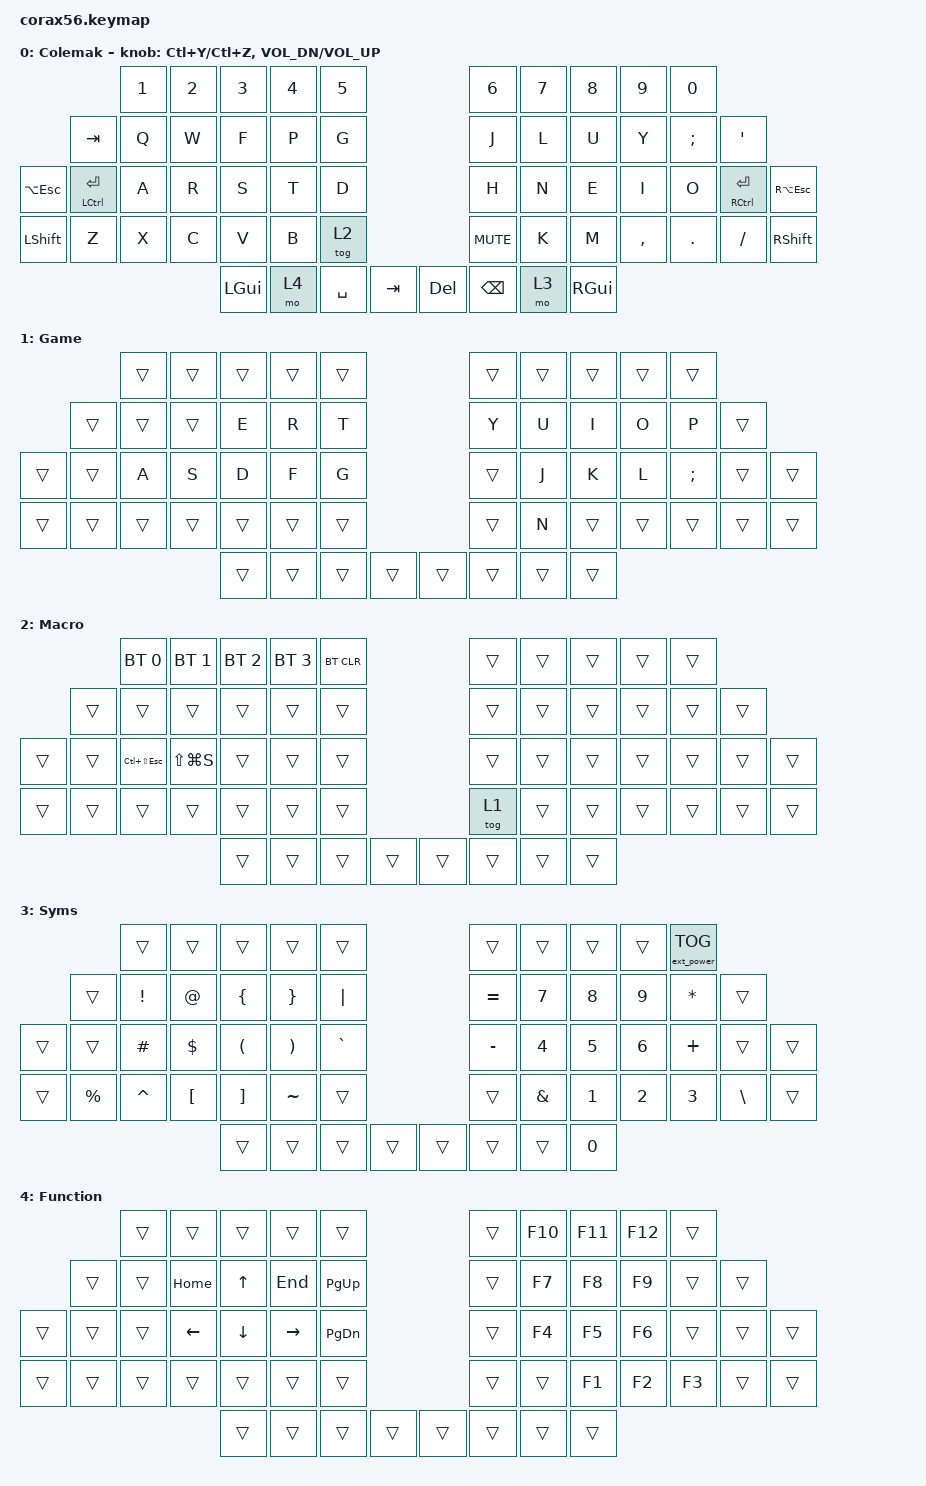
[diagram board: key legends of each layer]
#include <behaviors.dtsi>
#include <dt-bindings/zmk/bt.h>
#include <dt-bindings/zmk/ext_power.h>
#include <dt-bindings/zmk/keys.h>

// Zephyr 4.1 (ZMK main) removed CONFIG_NFCT_PINS_AS_GPIOS. The matrix uses
// pro_micro 10 (P0.09) and 16 (P0.10), the nRF52840 NFC pins, so free them for GPIO.
&uicr { nfct-pins-as-gpios; };

/ {
    keymap {
        compatible = "zmk,keymap";

        colemak {
            display-name = "Colemak";
            bindings = <
                                &kp N1      &kp N2      &kp N3       &kp N4       &kp N5                                &kp N6         &kp N7       &kp N8       &kp N9      &kp N0
                &kp TAB         &kp Q       &kp W       &kp F        &kp P        &kp G                                 &kp J          &kp L        &kp U        &kp Y       &kp SEMI   &kp SQT
&kp LA(ESC)     &mt LCTRL ENTER &kp A       &kp R       &kp S        &kp T        &kp D                                 &kp H          &kp N        &kp E        &kp I       &kp O      &mt RCTRL ENTER     &kp RA(ESC)
                &kp LSHFT       &kp Z       &kp X       &kp C        &kp V        &kp B      &tog 2        &kp C_MUTE   &kp K          &kp M        &kp COMMA    &kp DOT     &kp FSLH   &kp RSHFT
                                                        &kp LGUI     &mo 4        &kp SPACE  &kp TAB       &kp DEL      &kp BACKSPACE  &mo 3        &kp RGUI
            >;

            sensor-bindings = <&inc_dec_kp LC(Y) LC(Z) &inc_dec_kp C_VOL_DN C_VOL_UP>;
        };

        game {
            display-name = "Game";
            bindings = <
                            &trans  &trans  &trans  &trans  &trans                          &trans  &trans  &trans  &trans    &trans
                &trans      &trans  &trans  &kp E   &kp R   &kp T                           &kp Y   &kp U   &kp I   &kp O     &kp P     &trans
       &trans   &trans      &kp A   &kp S   &kp D   &kp F   &kp G                           &trans  &kp J   &kp K   &kp L     &kp SEMI  &trans  &trans
                &trans      &trans  &trans  &trans  &trans  &trans  &trans       &trans     &kp N   &trans  &trans  &trans    &trans    &trans
                                            &trans  &trans  &trans  &trans       &trans     &trans  &trans  &trans
            >;
        };

        macro {
            display-name = "Macro";
            bindings = <
                                &bt BT_SEL 0        &bt BT_SEL 1   &bt BT_SEL 2   &bt BT_SEL 3   &bt BT_CLR                       &trans  &trans  &trans  &trans  &trans
                &trans          &trans              &trans         &trans         &trans         &trans                           &trans  &trans  &trans  &trans  &trans  &trans
       &trans   &trans          &kp LC(LS(ESCAPE))  &kp LS(LG(S))  &trans         &trans         &trans                           &trans  &trans  &trans  &trans  &trans  &trans  &trans
                &trans          &trans              &trans         &trans         &trans         &trans      &trans    &tog 1     &trans  &trans  &trans  &trans  &trans  &trans
                                                                   &trans         &trans         &trans      &trans    &trans     &trans  &trans  &trans
            >;
        };

        symbol {
            display-name = "Syms";
            bindings = <
                            &trans     &trans     &trans    &trans    &trans                                &trans     &trans  &trans  &trans  &ext_power EP_TOG
                &trans      &kp EXCL   &kp AT     &kp LBRC  &kp RBRC  &kp PIPE                              &kp EQUAL  &kp N7  &kp N8  &kp N9  &kp ASTRK          &trans
    &trans      &trans      &kp HASH   &kp DLLR   &kp LPAR  &kp RPAR  &kp GRAVE                             &kp MINUS  &kp N4  &kp N5  &kp N6  &kp PLUS           &trans  &trans
                &trans      &kp PRCNT  &kp CARET  &kp LBKT  &kp RBKT  &kp TILDE     &trans      &trans      &kp AMPS   &kp N1  &kp N2  &kp N3  &kp BSLH           &trans
                                                  &trans    &trans    &trans        &trans      &trans      &trans     &trans  &kp N0
            >;
        };

        function {
            display-name = "Function";
            bindings = <
                            &trans  &trans    &trans    &trans     &trans                              &trans  &kp F10  &kp F11  &kp F12  &trans
                &trans      &trans  &kp HOME  &kp UP    &kp END    &kp PG_UP                           &trans  &kp F7   &kp F8   &kp F9   &trans  &trans
    &trans      &trans      &trans  &kp LEFT  &kp DOWN  &kp RIGHT  &kp PG_DN                           &trans  &kp F4   &kp F5   &kp F6   &trans  &trans  &trans
                &trans      &trans  &trans    &trans    &trans     &trans      &trans      &trans      &trans  &kp F1   &kp F2   &kp F3   &trans  &trans
                                              &trans    &trans     &trans      &trans      &trans      &trans  &trans   &trans
            >;
        };
    };
};
